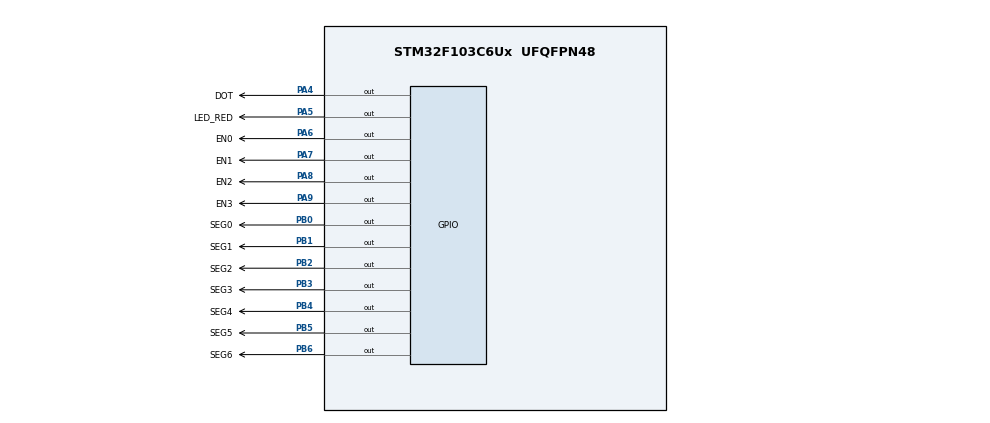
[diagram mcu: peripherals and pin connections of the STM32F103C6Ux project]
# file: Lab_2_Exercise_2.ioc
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Mcu.Family=STM32F1
Mcu.Name=STM32F103C6Ux
Mcu.Package=UFQFPN48
NVIC.PriorityGroup=NVIC_PRIORITYGROUP_4
NVIC.TIM2_IRQn=true\:0\:0\:false\:false\:true\:true\:true
PA4.GPIO_Label=DOT
PA4.Signal=GPIO_Output
PA5.GPIO_Label=LED_RED
PA5.Signal=GPIO_Output
PA6.GPIO_Label=EN0
PA6.Signal=GPIO_Output
PA7.GPIO_Label=EN1
PA7.Signal=GPIO_Output
PA8.GPIO_Label=EN2
PA8.Signal=GPIO_Output
PA9.GPIO_Label=EN3
PA9.Signal=GPIO_Output
PB0.GPIO_Label=SEG0
PB0.Signal=GPIO_Output
PB1.GPIO_Label=SEG1
PB1.Signal=GPIO_Output
PB2.GPIO_Label=SEG2
PB2.Signal=GPIO_Output
PB3.GPIO_Label=SEG3
PB3.Signal=GPIO_Output
PB4.GPIO_Label=SEG4
PB4.Signal=GPIO_Output
PB5.GPIO_Label=SEG5
PB5.Signal=GPIO_Output
PB6.GPIO_Label=SEG6
PB6.Signal=GPIO_Output
ProjectManager.HeapSize=0x200
ProjectManager.StackSize=0x400
ProjectManager.TargetToolchain=STM32CubeIDE
RCC.APB1Freq_Value=8000000
RCC.APB2Freq_Value=8000000
TIM2.Period=9
TIM2.Prescaler=7999
VP_SYS_VS_ND.Mode=No_Debug
VP_TIM2_VS_ClockSourceINT.Mode=Internal
board=custom

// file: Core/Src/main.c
/* USER CODE BEGIN Header */
/**
  ******************************************************************************
  * @file           : main.c
  * @brief          : Main program body
  ******************************************************************************
  * @attention
  *
  * <h2><center>&copy; Copyright (c) 2022 STMicroelectronics.
  * All rights reserved.</center></h2>
  *
  * This software component is licensed by ST under BSD 3-Clause license,
  * the "License"; You may not use this file except in compliance with the
  * License. You may obtain a copy of the License at:
  *                        opensource.org/licenses/BSD-3-Clause
  *
  ******************************************************************************
  */
/* USER CODE END Header */
#include "main.h"

TIM_HandleTypeDef htim2;

void SystemClock_Config(void);
static void MX_GPIO_Init(void);
static void MX_TIM2_Init(void);

int main(void)
{

  /* MCU Configuration--------------------------------------------------------*/

  /* Reset of all peripherals, Initializes the Flash interface and the Systick. */
  HAL_Init();

  /* Configure the system clock */
  SystemClock_Config();

  /* Initialize all configured peripherals */
  MX_GPIO_Init();
  MX_TIM2_Init();
  /* USER CODE BEGIN 2 */
  HAL_TIM_Base_Start_IT (& htim2 );
  /* USER CODE END 2 */

  /* Infinite loop */
  while (1)
  {

  }
}

void SystemClock_Config(void)
{
  RCC_OscInitTypeDef RCC_OscInitStruct = {0};
  RCC_ClkInitTypeDef RCC_ClkInitStruct = {0};

  /** Initializes the RCC Oscillators according to the specified parameters
  * in the RCC_OscInitTypeDef structure.
  */
  RCC_OscInitStruct.OscillatorType = RCC_OSCILLATORTYPE_HSI;
  RCC_OscInitStruct.HSIState = RCC_HSI_ON;
  RCC_OscInitStruct.HSICalibrationValue = RCC_HSICALIBRATION_DEFAULT;
  RCC_OscInitStruct.PLL.PLLState = RCC_PLL_NONE;
  if (HAL_RCC_OscConfig(&RCC_OscInitStruct) != HAL_OK)
  {
    Error_Handler();
  }
  /** Initializes the CPU, AHB and APB buses clocks
  */
  RCC_ClkInitStruct.ClockType = RCC_CLOCKTYPE_HCLK|RCC_CLOCKTYPE_SYSCLK
                              |RCC_CLOCKTYPE_PCLK1|RCC_CLOCKTYPE_PCLK2;
  RCC_ClkInitStruct.SYSCLKSource = RCC_SYSCLKSOURCE_HSI;
  RCC_ClkInitStruct.AHBCLKDivider = RCC_SYSCLK_DIV1;
  RCC_ClkInitStruct.APB1CLKDivider = RCC_HCLK_DIV1;
  RCC_ClkInitStruct.APB2CLKDivider = RCC_HCLK_DIV1;

  if (HAL_RCC_ClockConfig(&RCC_ClkInitStruct, FLASH_LATENCY_0) != HAL_OK)
  {
    Error_Handler();
  }
}

static void MX_TIM2_Init(void)
{

  TIM_ClockConfigTypeDef sClockSourceConfig = {0};
  TIM_MasterConfigTypeDef sMasterConfig = {0};

  htim2.Instance = TIM2;
  htim2.Init.Prescaler = 7999;
  htim2.Init.CounterMode = TIM_COUNTERMODE_UP;
  htim2.Init.Period = 9;
  htim2.Init.ClockDivision = TIM_CLOCKDIVISION_DIV1;
  htim2.Init.AutoReloadPreload = TIM_AUTORELOAD_PRELOAD_DISABLE;
  if (HAL_TIM_Base_Init(&htim2) != HAL_OK)
  {
    Error_Handler();
  }
  sClockSourceConfig.ClockSource = TIM_CLOCKSOURCE_INTERNAL;
  if (HAL_TIM_ConfigClockSource(&htim2, &sClockSourceConfig) != HAL_OK)
  {
    Error_Handler();
  }
  sMasterConfig.MasterOutputTrigger = TIM_TRGO_RESET;
  sMasterConfig.MasterSlaveMode = TIM_MASTERSLAVEMODE_DISABLE;
  if (HAL_TIMEx_MasterConfigSynchronization(&htim2, &sMasterConfig) != HAL_OK)
  {
    Error_Handler();
  }

}

static void MX_GPIO_Init(void)
{
  GPIO_InitTypeDef GPIO_InitStruct = {0};

  /* GPIO Ports Clock Enable */
  __HAL_RCC_GPIOA_CLK_ENABLE();
  __HAL_RCC_GPIOB_CLK_ENABLE();

  /*Configure GPIO pin Output Level */
  HAL_GPIO_WritePin(GPIOA, DOT_Pin|LED_RED_Pin|EN0_Pin|EN1_Pin
                          |EN2_Pin|EN3_Pin, GPIO_PIN_RESET);

  /*Configure GPIO pin Output Level */
  HAL_GPIO_WritePin(GPIOB, SEG0_Pin|SEG1_Pin|SEG2_Pin|SEG3_Pin
                          |SEG4_Pin|SEG5_Pin|SEG6_Pin, GPIO_PIN_RESET);

  /*Configure GPIO pins : DOT_Pin LED_RED_Pin EN0_Pin EN1_Pin
                           EN2_Pin EN3_Pin */
  GPIO_InitStruct.Pin = DOT_Pin|LED_RED_Pin|EN0_Pin|EN1_Pin
                          |EN2_Pin|EN3_Pin;
  GPIO_InitStruct.Mode = GPIO_MODE_OUTPUT_PP;
  GPIO_InitStruct.Pull = GPIO_NOPULL;
  GPIO_InitStruct.Speed = GPIO_SPEED_FREQ_LOW;
  HAL_GPIO_Init(GPIOA, &GPIO_InitStruct);

  /*Configure GPIO pins : SEG0_Pin SEG1_Pin SEG2_Pin SEG3_Pin
                           SEG4_Pin SEG5_Pin SEG6_Pin */
  GPIO_InitStruct.Pin = SEG0_Pin|SEG1_Pin|SEG2_Pin|SEG3_Pin
                          |SEG4_Pin|SEG5_Pin|SEG6_Pin;
  GPIO_InitStruct.Mode = GPIO_MODE_OUTPUT_PP;
  GPIO_InitStruct.Pull = GPIO_NOPULL;
  GPIO_InitStruct.Speed = GPIO_SPEED_FREQ_LOW;
  HAL_GPIO_Init(GPIOB, &GPIO_InitStruct);

}

/* USER CODE BEGIN 4 */
void display7SEG(int num){
	switch(num)
		{
		case 0:
			HAL_GPIO_WritePin(SEG0_GPIO_Port, SEG0_Pin, 0);
			HAL_GPIO_WritePin(SEG1_GPIO_Port, SEG1_Pin, 0);
			HAL_GPIO_WritePin(SEG2_GPIO_Port, SEG2_Pin, 0);
			HAL_GPIO_WritePin(SEG3_GPIO_Port, SEG3_Pin, 0);
			HAL_GPIO_WritePin(SEG4_GPIO_Port, SEG4_Pin, 0);
			HAL_GPIO_WritePin(SEG5_GPIO_Port, SEG5_Pin, 0);
			HAL_GPIO_WritePin(SEG6_GPIO_Port, SEG6_Pin, 1);
			break;
		case 1:
			HAL_GPIO_WritePin(SEG0_GPIO_Port, SEG0_Pin, 1);
			HAL_GPIO_WritePin(SEG1_GPIO_Port, SEG1_Pin, 0);
			HAL_GPIO_WritePin(SEG2_GPIO_Port, SEG2_Pin, 0);
			HAL_GPIO_WritePin(SEG3_GPIO_Port, SEG3_Pin, 1);
			HAL_GPIO_WritePin(SEG4_GPIO_Port, SEG4_Pin, 1);
			HAL_GPIO_WritePin(SEG5_GPIO_Port, SEG5_Pin, 1);
			HAL_GPIO_WritePin(SEG6_GPIO_Port, SEG6_Pin, 1);
			break;
		case 2:
			HAL_GPIO_WritePin(SEG0_GPIO_Port, SEG0_Pin, 0);
			HAL_GPIO_WritePin(SEG1_GPIO_Port, SEG1_Pin, 0);
			HAL_GPIO_WritePin(SEG2_GPIO_Port, SEG2_Pin, 1);
			HAL_GPIO_WritePin(SEG3_GPIO_Port, SEG3_Pin, 0);
			HAL_GPIO_WritePin(SEG4_GPIO_Port, SEG4_Pin, 0);
			HAL_GPIO_WritePin(SEG5_GPIO_Port, SEG5_Pin, 1);
			HAL_GPIO_WritePin(SEG6_GPIO_Port, SEG6_Pin, 0);
			break;
		case 3:
			HAL_GPIO_WritePin(SEG0_GPIO_Port, SEG0_Pin, 0);
			HAL_GPIO_WritePin(SEG1_GPIO_Port, SEG1_Pin, 0);
			HAL_GPIO_WritePin(SEG2_GPIO_Port, SEG2_Pin, 0);
			HAL_GPIO_WritePin(SEG3_GPIO_Port, SEG3_Pin, 0);
			HAL_GPIO_WritePin(SEG4_GPIO_Port, SEG4_Pin, 1);
			HAL_GPIO_WritePin(SEG5_GPIO_Port, SEG5_Pin, 1);
			HAL_GPIO_WritePin(SEG6_GPIO_Port, SEG6_Pin, 0);
			break;
		case 4:
			HAL_GPIO_WritePin(SEG0_GPIO_Port, SEG0_Pin, 1);
			HAL_GPIO_WritePin(SEG1_GPIO_Port, SEG1_Pin, 0);
			HAL_GPIO_WritePin(SEG2_GPIO_Port, SEG2_Pin, 0);
			HAL_GPIO_WritePin(SEG3_GPIO_Port, SEG3_Pin, 1);
			HAL_GPIO_WritePin(SEG4_GPIO_Port, SEG4_Pin, 1);
			HAL_GPIO_WritePin(SEG5_GPIO_Port, SEG5_Pin, 0);
			HAL_GPIO_WritePin(SEG6_GPIO_Port, SEG6_Pin, 0);
			break;
		case 5:
			HAL_GPIO_WritePin(SEG0_GPIO_Port, SEG0_Pin, 0);
			HAL_GPIO_WritePin(SEG1_GPIO_Port, SEG1_Pin, 0);
			HAL_GPIO_WritePin(SEG2_GPIO_Port, SEG2_Pin, 1);
			HAL_GPIO_WritePin(SEG3_GPIO_Port, SEG3_Pin, 0);
			HAL_GPIO_WritePin(SEG4_GPIO_Port, SEG4_Pin, 1);
			HAL_GPIO_WritePin(SEG5_GPIO_Port, SEG5_Pin, 0);
			HAL_GPIO_WritePin(SEG6_GPIO_Port, SEG6_Pin, 0);
			break;
		case 6:
			HAL_GPIO_WritePin(SEG0_GPIO_Port, SEG0_Pin, 0);
			HAL_GPIO_WritePin(SEG1_GPIO_Port, SEG1_Pin, 1);
			HAL_GPIO_WritePin(SEG2_GPIO_Port, SEG2_Pin, 0);
			HAL_GPIO_WritePin(SEG3_GPIO_Port, SEG3_Pin, 0);
			HAL_GPIO_WritePin(SEG4_GPIO_Port, SEG4_Pin, 0);
			HAL_GPIO_WritePin(SEG5_GPIO_Port, SEG5_Pin, 0);
			HAL_GPIO_WritePin(SEG6_GPIO_Port, SEG6_Pin, 0);
			break;
		case 7:
			HAL_GPIO_WritePin(SEG0_GPIO_Port, SEG0_Pin, 0);
			HAL_GPIO_WritePin(SEG1_GPIO_Port, SEG1_Pin, 0);
			HAL_GPIO_WritePin(SEG2_GPIO_Port, SEG2_Pin, 0);
			HAL_GPIO_WritePin(SEG3_GPIO_Port, SEG3_Pin, 1);
			HAL_GPIO_WritePin(SEG4_GPIO_Port, SEG4_Pin, 1);
			HAL_GPIO_WritePin(SEG5_GPIO_Port, SEG5_Pin, 1);
			HAL_GPIO_WritePin(SEG6_GPIO_Port, SEG6_Pin, 1);
			break;
		case 8:
			HAL_GPIO_WritePin(SEG0_GPIO_Port, SEG0_Pin, 0);
			HAL_GPIO_WritePin(SEG1_GPIO_Port, SEG1_Pin, 0);
			HAL_GPIO_WritePin(SEG2_GPIO_Port, SEG2_Pin, 0);
			HAL_GPIO_WritePin(SEG3_GPIO_Port, SEG3_Pin, 0);
			HAL_GPIO_WritePin(SEG4_GPIO_Port, SEG4_Pin, 0);
			HAL_GPIO_WritePin(SEG5_GPIO_Port, SEG5_Pin, 0);
			HAL_GPIO_WritePin(SEG6_GPIO_Port, SEG6_Pin, 0);
			break;
		case 9:
			HAL_GPIO_WritePin(SEG0_GPIO_Port, SEG0_Pin, 0);
			HAL_GPIO_WritePin(SEG1_GPIO_Port, SEG1_Pin, 0);
			HAL_GPIO_WritePin(SEG2_GPIO_Port, SEG2_Pin, 0);
			HAL_GPIO_WritePin(SEG3_GPIO_Port, SEG3_Pin, 1);
			HAL_GPIO_WritePin(SEG4_GPIO_Port, SEG4_Pin, 1);
			HAL_GPIO_WritePin(SEG5_GPIO_Port, SEG5_Pin, 0);
			HAL_GPIO_WritePin(SEG6_GPIO_Port, SEG6_Pin, 0);
			break;
		}
}
int counter1 = 100, counter2 = 50, flag = 0;
void HAL_TIM_PeriodElapsedCallback(TIM_HandleTypeDef *htim) {
	counter1--;
	counter2--;

	if (counter2 <= 0) {
		counter2 = 50;
		if (flag == 0) {
			HAL_GPIO_WritePin(EN0_GPIO_Port, EN0_Pin, 0);
			HAL_GPIO_WritePin(EN1_GPIO_Port, EN1_Pin, 1);
			HAL_GPIO_WritePin(EN2_GPIO_Port, EN2_Pin, 1);
			HAL_GPIO_WritePin(EN3_GPIO_Port, EN3_Pin, 1);
			display7SEG(1);
			flag = 1;
		}
		else if (flag == 1) {
			HAL_GPIO_WritePin(EN1_GPIO_Port, EN1_Pin, 0);
			HAL_GPIO_WritePin(EN0_GPIO_Port, EN0_Pin, 1);
			HAL_GPIO_WritePin(EN2_GPIO_Port, EN2_Pin, 1);
			HAL_GPIO_WritePin(EN3_GPIO_Port, EN3_Pin, 1);
			display7SEG(2);
			flag = 2;
		}
		else if (flag == 2) {
			HAL_GPIO_WritePin(EN2_GPIO_Port, EN2_Pin, 0);
			HAL_GPIO_WritePin(EN0_GPIO_Port, EN0_Pin, 1);
			HAL_GPIO_WritePin(EN1_GPIO_Port, EN1_Pin, 1);
			HAL_GPIO_WritePin(EN3_GPIO_Port, EN3_Pin, 1);
			display7SEG(3);
			flag = 3;
		}
		else if (flag == 3) {
			HAL_GPIO_WritePin(EN3_GPIO_Port, EN3_Pin, 0);
			HAL_GPIO_WritePin(EN0_GPIO_Port, EN0_Pin, 1);
			HAL_GPIO_WritePin(EN1_GPIO_Port, EN1_Pin, 1);
			HAL_GPIO_WritePin(EN2_GPIO_Port, EN2_Pin, 1);
			display7SEG(0);
			flag = 0;
		}
	}

	if (counter1 <= 0) {
			counter1 = 100;
			HAL_GPIO_TogglePin(DOT_GPIO_Port, DOT_Pin);
			HAL_GPIO_TogglePin ( LED_RED_GPIO_Port , LED_RED_Pin );
		}
}
/* USER CODE END 4 */

void Error_Handler(void)
{
  __disable_irq();
  while (1)
  {
  }
}

/************************ (C) COPYRIGHT STMicroelectronics *****END OF FILE****/
